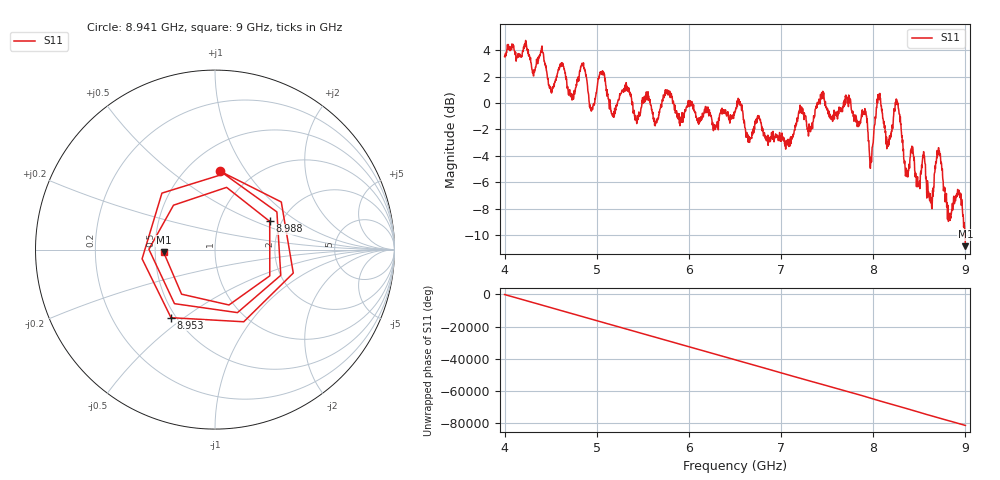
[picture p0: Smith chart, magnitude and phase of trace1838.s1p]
! Created with skrf 1.8.0 (http://scikit-rf.org).
# Hz S RI R 50.0
!freq ReS11 ImS11
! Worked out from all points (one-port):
!   1601 points, 4 GHz to 9 GHz, reference 50 ohm
!   lowest |S11| = -10.8 dB at 9 GHz (marker M1), VSWR 1.80, Z = 27.7 - j0.856 ohm
!   |S11| at or under -10 dB: 8.994748 GHz to end of sweep
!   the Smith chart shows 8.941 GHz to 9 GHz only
!   S11 on the Smith chart (normalised r, x): 8.941 GHz: 0.71, +0.77; 8.953 GHz: 0.47, -0.45; 8.988 GHz: 1.74, +0.62; 9 GHz: 0.55, -0.02
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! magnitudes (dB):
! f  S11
! 4 GHz  3.5
! 4.403 GHz  4.2
! 4.506 GHz  1.0
! 4.625 GHz  2.9
! 4.725 GHz  0.6
! 4.85 GHz  3.0
! 4.944 GHz  -0.6
! 5.053 GHz  2.2
! 5.169 GHz  -1.0
! 5.25 GHz  0.7
! 5.875 GHz  -1.1
! 6.5 GHz  -0.6
! 7.125 GHz  -2.6
! 7.75 GHz  0.2
! 7.912 GHz  -0.9
! 7.975 GHz  -4.4
! 8.056 GHz  0.6
! 8.162 GHz  -3.3
! 8.262 GHz  0.1
! 8.375 GHz  -5.2
! 8.547 GHz  -3.7
! 8.622 GHz  -7.5
! 8.712 GHz  -3.9
! 8.822 GHz  -8.3
! 8.941 GHz  -7.2
! 8.953 GHz  -6.9
! 8.988 GHz  -9.3
! 9 GHz  -10.8
